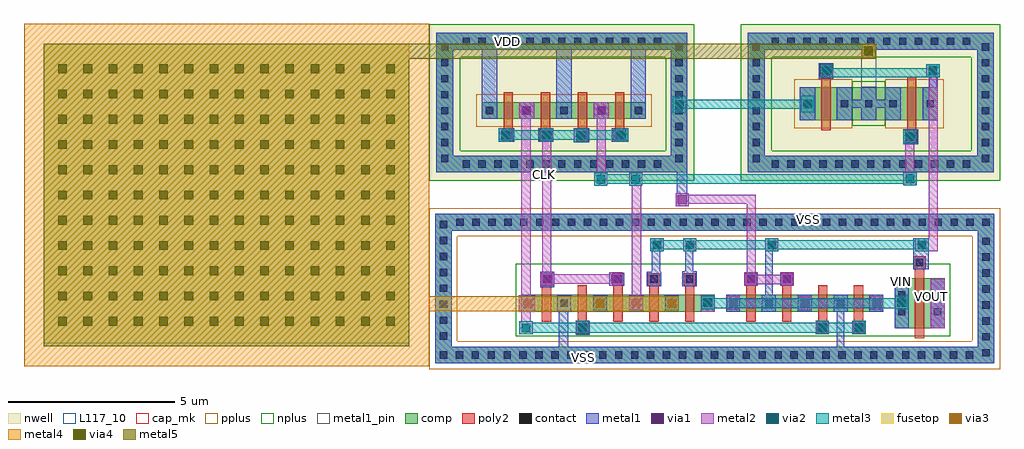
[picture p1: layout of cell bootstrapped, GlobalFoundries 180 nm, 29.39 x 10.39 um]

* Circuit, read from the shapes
.subckt bootstrapped CLK VDD VIN VOUT VSS
XM1 VSS CLK n1 VSS nfet_03v3 w=0.5u l=0.28u
XM2 n2 n1 VSS VSS nfet_03v3 w=0.5u l=0.28u
XM3 n3 CLK n2 VSS nfet_03v3 w=0.5u l=0.28u
XM4 n2 n4 n3 VSS nfet_03v3 w=0.5u l=0.28u
XM5 VIN n4 n2 VSS nfet_03v3 w=0.5u l=0.28u
XM6 n4 VDD n5 VSS nfet_03v3 w=0.5u l=0.28u m=2
XM7 VSS n1 n5 VSS nfet_03v3 w=0.5u l=0.28u m=2
XM8 VOUT n4 VIN VSS nfet_03v3 w=1.5u l=0.28u
XM9 n1 CLK VDD VDD pfet_03v3 w=0.5u l=0.28u m=2
XM10 n3 CLK VDD VDD pfet_03v3 w=0.5u l=0.28u m=2
XM11 n6 n4 VDD n6 pfet_03v3 w=1u l=0.28u
XM12 n4 n3 n6 n6 pfet_03v3 w=1u l=0.28u
XC13 n6 n2 cap_mim_2f0fF c_width=11u c_length=9.1u
.ends

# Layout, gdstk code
from math import pi, radians
import gdstk
lib = gdstk.Library(unit=1e-6, precision=1e-09)
def R(c, l, rs):  # rectangles x0, y0, x1, y1
    for r in rs: c.add(gdstk.rectangle(r[:2], r[2:], *l))
def A(c, l, x, y, w, h, nx, ny, dx, dy):  # array of equal rectangles
    R(c, l, [(x+i*dx, y+j*dy, x+i*dx+w, y+j*dy+h) for i in range(nx) for j in range(ny)])
def P(c, l, *ps):  # polygons
    for p in ps: c.add(gdstk.Polygon(p, *l))
nwell = (21, 0)
comp = (22, 0)
poly2 = (30, 0)
pplus = (31, 0)
nplus = (32, 0)
contact = (33, 0)
metal1 = (34, 0)
metal1_pin = (34, 10)
via1 = (35, 0)
metal2 = (36, 0)
via2 = (38, 0)
via3 = (40, 0)
via4 = (41, 0)
metal3 = (42, 0)
metal4 = (46, 0)
fusetop = (75, 0)
metal5 = (81, 0)
cap_mk = (117, 5)
L117_10 = (117, 10)

via_dev_18_4 = lib.new_cell('via_dev$18$4')
R(via_dev_18_4, metal1, [(0,0,0.4,0.4)])
R(via_dev_18_4, via1, [(0.07,0.07,0.33,0.33)])
R(via_dev_18_4, metal2, [(0,0,0.4,0.4)])
R(via_dev_18_4, via2, [(0.07,0.07,0.33,0.33)])
R(via_dev_18_4, via3, [(0.07,0.07,0.33,0.33)])
R(via_dev_18_4, via4, [(0.07,0.07,0.33,0.33)])
R(via_dev_18_4, metal3, [(0,0,0.4,0.4)])
R(via_dev_18_4, metal4, [(0,0,0.4,0.4)])
R(via_dev_18_4, metal5, [(0,0,0.4,0.4)])

via_dev_1_1_1 = lib.new_cell('via_dev$1$1$1')
R(via_dev_1_1_1, metal1, [(0,0,0.4,0.4)])
R(via_dev_1_1_1, via1, [(0.07,0.07,0.33,0.33)])
R(via_dev_1_1_1, metal2, [(0,0,0.4,0.4)])
R(via_dev_1_1_1, via2, [(0.07,0.07,0.33,0.33)])
R(via_dev_1_1_1, metal3, [(0,0,0.4,0.4)])

via_dev_2_3_1 = lib.new_cell('via_dev$2$3$1')
R(via_dev_2_3_1, metal2, [(0,0,0.4,0.4)])
R(via_dev_2_3_1, via2, [(0.07,0.07,0.33,0.33)])
R(via_dev_2_3_1, metal3, [(0,0,0.4,0.4)])

via_dev_13_2_1 = lib.new_cell('via_dev$13$2$1')
R(via_dev_13_2_1, comp, [(0,0,4.2,0.5)])
A(via_dev_13_2_1, contact, 0.31, 0.14, 0.22, 0.22, 8, 1, 0.48, 0)
R(via_dev_13_2_1, metal1, [(0,0,4.2,0.5)])

via_dev_15_3 = lib.new_cell('via_dev$15$3')
R(via_dev_15_3, comp, [(0,0,6.4,0.5)])
A(via_dev_15_3, contact, 0.21, 0.14, 0.22, 0.22, 13, 1, 0.48, 0)
R(via_dev_15_3, metal1, [(0,0,6.4,0.5)])

via_dev_7_2_1 = lib.new_cell('via_dev$7$2$1')
R(via_dev_7_2_1, comp, [(0,0,4,0.5)])
A(via_dev_7_2_1, contact, 0.21, 0.14, 0.22, 0.22, 8, 1, 0.48, 0)
R(via_dev_7_2_1, metal1, [(0,0,4,0.5)])

via_dev_22_2 = lib.new_cell('via_dev$22$2')
R(via_dev_22_2, comp, [(0,0,16.34,0.5)])
A(via_dev_22_2, contact, 0.14, 0.14, 0.22, 0.22, 34, 1, 0.48, 0)
R(via_dev_22_2, metal1, [(0,0,16.34,0.5)])

via_dev_9_3 = lib.new_cell('via_dev$9$3')
R(via_dev_9_3, metal1, [(0,0,0.4,0.4)])
R(via_dev_9_3, via1, [(0.07,0.07,0.33,0.33)])
R(via_dev_9_3, metal2, [(0,0,0.4,0.4)])
R(via_dev_9_3, via2, [(0.07,0.07,0.33,0.33)])
R(via_dev_9_3, via3, [(0.07,0.07,0.33,0.33)])
R(via_dev_9_3, metal3, [(0,0,0.4,0.4)])
R(via_dev_9_3, metal4, [(0,0,0.4,0.4)])

via_dev_31 = lib.new_cell('via_dev$31')
R(via_dev_31, metal1, [(0,0,0.4,0.4)])
R(via_dev_31, via1, [(0.07,0.07,0.33,0.33)])
R(via_dev_31, metal2, [(0,0,0.4,0.4)])

via_dev_16_3 = lib.new_cell('via_dev$16$3')
R(via_dev_16_3, metal1, [(0,0,0.4,0.5)])
R(via_dev_16_3, via1, [(0.07,0.12,0.33,0.38)])
R(via_dev_16_3, metal2, [(0,0,0.4,0.5)])
R(via_dev_16_3, via2, [(0.07,0.12,0.33,0.38)])
R(via_dev_16_3, metal3, [(0,0,0.4,0.5)])

cap_mim_1_1 = lib.new_cell('cap_mim$1$1')
A(cap_mim_1_1, via4, 0.43, 0.62, 0.26, 0.26, 14, 11, 0.76, 0.76)
R(cap_mim_1_1, metal4, [(-0.6,-0.6,11.6,9.7)])
R(cap_mim_1_1, fusetop, [(0,0,11,9.1)])
R(cap_mim_1_1, metal5, [(0,0,11,9.1)])
R(cap_mim_1_1, cap_mk, [(-0.6,-0.6,11.6,9.7)])
R(cap_mim_1_1, L117_10, [(0,0,11,0.1)])

pfet_6 = lib.new_cell('pfet$6')
R(pfet_6, nwell, [(-1.32,-1.37,2.71,1.99)])
R(pfet_6, comp, [(-0.46,0,1.85,1)])
P(pfet_6, poly2, [(0.14,-0.68),(0.14,-0.3),(0.19,-0.3),(0.19,1.3),(0.47,1.3),(0.47,-0.3),(0.52,-0.3),(0.52,-0.68)])
R(pfet_6, pplus, [(-0.63,-0.24,1.12,1.24)])
R(pfet_6, nplus, [(1.12,-0.17,2.02,1.17)])
R(pfet_6, contact, [(0.22,-0.6,0.44,-0.38), (-0.34,0.39,-0.12,0.61), (0.78,0.39,1,0.61), (1.51,0.39,1.73,0.61)])
R(pfet_6, metal1, [(0.14,-0.68,0.52,-0.3), (-0.42,0.31,-0.04,0.69), (0.7,0.31,1.08,0.69), (1.43,0.31,1.81,0.69)])

pfet_1_1_1 = lib.new_cell('pfet$1$1$1')
R(pfet_1_1_1, nwell, [(-1.32,-0.99,2.71,2.37)])
R(pfet_1_1_1, comp, [(-0.46,0,1.85,1)])
P(pfet_1_1_1, poly2, [(0.19,-0.3),(0.19,1.3),(0.14,1.3),(0.14,1.68),(0.52,1.68),(0.52,1.3),(0.47,1.3),(0.47,-0.3)])
R(pfet_1_1_1, pplus, [(-0.63,-0.24,1.12,1.24)])
R(pfet_1_1_1, nplus, [(1.12,-0.17,2.02,1.17)])
R(pfet_1_1_1, contact, [(-0.34,0.39,-0.12,0.61), (0.78,0.39,1,0.61), (1.51,0.39,1.73,0.61), (0.22,1.38,0.44,1.6)])
R(pfet_1_1_1, metal1, [(-0.42,0.31,-0.04,0.69), (0.7,0.31,1.08,0.69), (1.43,0.31,1.81,0.69), (0.14,1.3,0.52,1.68)])

nfet_7 = lib.new_cell('nfet$7')
R(nfet_7, comp, [(-0.42,0,1.08,0.5)])
P(nfet_7, poly2, [(0.19,-0.3),(0.19,0.8),(0.15,0.8),(0.15,1.16),(0.51,1.16),(0.51,0.8),(0.47,0.8),(0.47,-0.3)])
R(nfet_7, nplus, [(-0.59,-0.24,1.25,0.74)])
R(nfet_7, contact, [(-0.32,0.14,-0.1,0.36), (0.76,0.14,0.98,0.36), (0.22,0.87,0.44,1.09)])
R(nfet_7, metal1, [(-0.4,0.06,-0.02,0.44), (0.68,0.06,1.06,0.44), (0.14,0.79,0.52,1.17)])

nfet_4_2 = lib.new_cell('nfet$4$2')
R(nfet_4_2, comp, [(-0.42,0,1.08,0.5)])
P(nfet_4_2, poly2, [(0.15,-0.66),(0.15,-0.3),(0.19,-0.3),(0.19,0.8),(0.47,0.8),(0.47,-0.3),(0.51,-0.3),(0.51,-0.66)])
R(nfet_4_2, nplus, [(-0.59,-0.24,1.25,0.74)])
R(nfet_4_2, contact, [(0.22,-0.59,0.44,-0.37), (-0.32,0.14,-0.1,0.36), (0.76,0.14,0.98,0.36)])
R(nfet_4_2, metal1, [(0.14,-0.67,0.52,-0.29), (-0.4,0.06,-0.02,0.44), (0.68,0.06,1.06,0.44)])

nfet_5_2 = lib.new_cell('nfet$5$2')
R(nfet_5_2, comp, [(-0.42,0,1.08,1.5)])
P(nfet_5_2, poly2, [(0.19,-0.3),(0.19,1.8),(0.15,1.8),(0.15,2.16),(0.51,2.16),(0.51,1.8),(0.47,1.8),(0.47,-0.3)])
R(nfet_5_2, nplus, [(-0.59,-0.24,1.25,1.74)])
R(nfet_5_2, contact, [(-0.32,0.385,-0.1,0.605), (0.76,0.385,0.98,0.605), (-0.32,0.895,-0.1,1.115), (0.76,0.895,0.98,1.115), (0.22,1.87,0.44,2.09)])
R(nfet_5_2, metal1, [(-0.4,0.305,-0.02,1.195), (0.68,0.305,1.06,1.195), (0.14,1.79,0.52,2.17)])

pfet_3_1 = lib.new_cell('pfet$3$1')
R(pfet_3_1, nwell, [(-1.07,-1.12,1.73,1.24)])
R(pfet_3_1, comp, [(-0.46,0,1.12,0.5)])
P(pfet_3_1, poly2, [(0.14,-0.68),(0.14,-0.3),(0.19,-0.3),(0.19,0.8),(0.47,0.8),(0.47,-0.3),(0.52,-0.3),(0.52,-0.68)])
R(pfet_3_1, pplus, [(-0.63,-0.24,1.29,0.74)])
R(pfet_3_1, contact, [(0.22,-0.6,0.44,-0.38), (-0.34,0.14,-0.12,0.36), (0.78,0.14,1,0.36)])
R(pfet_3_1, metal1, [(0.14,-0.68,0.52,-0.3), (-0.42,0.06,-0.04,0.44), (0.7,0.06,1.08,0.44)])

via_dev_20_2 = lib.new_cell('via_dev$20$2')
R(via_dev_20_2, comp, [(0,0,6.55,0.5)])
A(via_dev_20_2, contact, 0.285, 0.14, 0.22, 0.22, 13, 1, 0.48, 0)
R(via_dev_20_2, metal1, [(0,0,6.55,0.5)])

bootstrapped = lib.new_cell('bootstrapped')
R(bootstrapped, nwell, [(10.67,5.585,18.65,10.295), (20.05,5.585,27.85,10.295)])
R(bootstrapped, pplus, [(10.67,-0.09,11.51,3.91), (11.51,-0.09,27.01,0.75), (27.01,-0.09,27.85,3.91), (10.67,3.91,27.85,4.75)])
R(bootstrapped, nplus, [(13.27,0.895,26.35,3.085), (10.67,5.585,11.6,9.305), (11.6,5.585,17.78,6.485), (17.78,5.585,18.65,9.305), (20.05,5.585,20.98,9.305), (20.98,5.585,26.98,6.485), (26.98,5.585,27.85,9.305), (10.67,9.305,18.65,10.295), (20.05,9.305,27.85,10.295)])
A(bootstrapped, metal1, 14.52, 1.635, 0.42, 0.5, 3, 1, 1.08, 0)
A(bootstrapped, metal1, 16.68, 1.635, 0.42, 0.5, 3, 1, 1.08, 0)
A(bootstrapped, metal1, 19.6, 1.64, 0.42, 0.5, 3, 1, 1.08, 0)
A(bootstrapped, metal1, 21.76, 1.64, 0.42, 0.5, 3, 1, 1.08, 0)
A(bootstrapped, metal1, 22.94, 7.395, 0.46, 1, 3, 1, 0.73, 0)
A(bootstrapped, metal1, 12.25, 7.445, 0.46, 2.085, 3, 1, 2.24, 0)
R(bootstrapped, metal1, [(14.57,0.575,14.85,1.635), (22.93,0.58,23.16,1.64), (15.08,0.935,15.5,1.355), (22.31,0.96,22.7,1.36), (23.4,0.96,23.79,1.36), (24.68,1.135,25.1,2.635), (25.76,1.135,26.18,2.635), (13.36,1.635,13.86,2.135), (20.78,2.14,21.01,3.45), (14,2.375,14.43,2.835), (17.21,2.405,17.65,2.845), (18.28,2.405,18.72,2.85), (16.1,2.415,16.54,2.815), (20.15,2.42,20.55,2.82), (21.24,2.42,21.64,2.82), (21.24,2.42,21.64,2.82), (17.37,2.845,17.62,3.45), (18.37,2.845,18.62,3.45), (25.24,2.915,25.7,3.85), (18.11,5.21,18.43,5.83), (24.94,6.685,25.39,7.125), (15.02,6.745,15.48,7.155), (12.76,6.755,13.23,7.155), (13.95,6.755,14.4,7.155), (16.16,6.755,16.66,7.155), (21.82,7.395,22.28,8.395), (22.94,7.395,23.4,8.395), (25.52,7.395,25.98,8.395), (13.37,7.445,13.83,7.945), (15.61,7.445,16.07,7.945), (23.36,7.775,24.82,8.015), (25.72,8.395,25.95,8.69), (22.395,8.655,22.835,9.115)])
R(bootstrapped, metal1_pin, [(23.67,8.395,24.13,9.525)])
R(bootstrapped, metal2, [(25.76,1.135,26.18,2.635), (13.44,1.345,13.72,7.705), (13.36,1.635,13.86,2.135), (18.84,1.635,19.26,2.135), (20.02,1.75,21.78,2.03), (22.18,1.75,23.94,2.03), (16.76,2.025,17.04,5.425), (20.55,2.47,21.24,2.75), (14.31,2.48,16.2,2.765), (20.22,2.75,20.5,4.88), (14.06,2.815,14.34,7.025), (25.7,3.45,25.98,8.69), (18.48,4.88,20.5,5.16), (15.7,5.48,15.98,7.445), (24.99,5.84,25.27,6.71), (13.37,7.445,13.83,7.945), (15.61,7.445,16.07,7.945)])
R(bootstrapped, metal3, [(13.78,0.995,23.4,1.305), (18.91,1.735,24.7,2.045), (17.32,3.515,25.3,3.795), (16.03,5.49,24.94,5.77), (13.16,6.815,16.26,7.095), (18.4,7.745,21.86,8.025), (22.835,8.69,25.63,8.97)])
R(bootstrapped, metal4, [(10.66,1.655,18.17,2.095)])
R(bootstrapped, metal5, [(10.06,9.255,24.13,9.7)])
bootstrapped.add(gdstk.Reference(via_dev_18_4, (23.69,9.29)))
bootstrapped.add(gdstk.Reference(via_dev_1_1_1, (25.3,3.45)))
bootstrapped.add(gdstk.Reference(via_dev_2_3_1, (16.03,5.425), rotation=pi, x_reflection=True))
bootstrapped.add(gdstk.Reference(via_dev_2_3_1, (24.94,5.44)))
bootstrapped.add(gdstk.Reference(via_dev_2_3_1, (17.08,5.425), rotation=pi, x_reflection=True))
bootstrapped.add(gdstk.Reference(via_dev_13_2_1, (27.16,10.03), rotation=3*pi/2))
bootstrapped.add(gdstk.Reference(via_dev_15_3, (20.76,9.53)))
bootstrapped.add(gdstk.Reference(via_dev_13_2_1, (20.26,10.03), rotation=3*pi/2))
bootstrapped.add(gdstk.Reference(via_dev_7_2_1, (11.34,0.58), rotation=pi/2))
bootstrapped.add(gdstk.Reference(via_dev_1_1_1, (24.94,6.71)))
bootstrapped.add(gdstk.Reference(via_dev_1_1_1, (25.63,8.69)))
bootstrapped.add(gdstk.Reference(via_dev_1_1_1, (22.435,8.69)))
bootstrapped.add(gdstk.Reference(via_dev_15_3, (20.76,5.83)))
bootstrapped.add(gdstk.Reference(via_dev_22_2, (10.84,0.08)))
bootstrapped.add(gdstk.Reference(via_dev_9_3, (16.01,1.69), rotation=pi, x_reflection=True))
bootstrapped.add(gdstk.Reference(via_dev_31, (13.84,1.68), rotation=pi, x_reflection=True))
bootstrapped.add(gdstk.Reference(via_dev_31, (17.09,1.7), rotation=pi, x_reflection=True))
bootstrapped.add(gdstk.Reference(via_dev_2_3_1, (13.78,0.95), rotation=pi, x_reflection=True))
bootstrapped.add(gdstk.Reference(via_dev_1_1_1, (18.31,3.45)))
bootstrapped.add(gdstk.Reference(via_dev_1_1_1, (17.32,3.45)))
bootstrapped.add(gdstk.Reference(via_dev_1_1_1, (18.85,1.71)))
bootstrapped.add(gdstk.Reference(via_dev_9_3, (17.77,1.69)))
bootstrapped.add(gdstk.Reference(via_dev_31, (14.41,2.42), rotation=pi, x_reflection=True))
bootstrapped.add(gdstk.Reference(via_dev_31, (16.48,2.42), rotation=pi, x_reflection=True))
bootstrapped.add(gdstk.Reference(via_dev_1_1_1, (20.78,3.45)))
bootstrapped.add(gdstk.Reference(via_dev_1_1_1, (15.48,0.96), rotation=pi, x_reflection=True))
bootstrapped.add(gdstk.Reference(via_dev_31, (18.08,4.81)))
bootstrapped.add(gdstk.Reference(via_dev_16_3, (18,7.62)))
bootstrapped.add(gdstk.Reference(via_dev_16_3, (21.86,7.64)))
bootstrapped.add(gdstk.Reference(cap_mim_1_1, (-0.94,0.6)))
bootstrapped.add(gdstk.Reference(pfet_6, (25.52,7.4), rotation=pi, x_reflection=True))
bootstrapped.add(gdstk.Reference(pfet_1_1_1, (22.28,7.4)))
bootstrapped.add(gdstk.Reference(nfet_7, (18.18,1.64)))
bootstrapped.add(gdstk.Reference(nfet_7, (17.76,1.64), rotation=pi, x_reflection=True))
bootstrapped.add(gdstk.Reference(nfet_7, (16.02,1.64)))
bootstrapped.add(gdstk.Reference(nfet_4_2, (15.6,1.64), rotation=pi, x_reflection=True))
bootstrapped.add(gdstk.Reference(nfet_7, (14.52,1.64), rotation=pi, x_reflection=True))
bootstrapped.add(gdstk.Reference(nfet_5_2, (25.1,1.14)))
bootstrapped.add(gdstk.Reference(via_dev_7_2_1, (27.68,0.08), rotation=pi/2))
bootstrapped.add(gdstk.Reference(via_dev_22_2, (27.68,4.58), rotation=pi))
bootstrapped.add(gdstk.Reference(via_dev_1_1_1, (24.69,1.71)))
bootstrapped.add(gdstk.Reference(nfet_4_2, (20.02,2.14), x_reflection=True))
bootstrapped.add(gdstk.Reference(nfet_4_2, (21.1,2.14), x_reflection=True))
bootstrapped.add(gdstk.Reference(via_dev_31, (19.62,2.1), x_reflection=True))
bootstrapped.add(gdstk.Reference(via_dev_31, (20.15,2.42)))
bootstrapped.add(gdstk.Reference(via_dev_31, (21.24,2.42)))
bootstrapped.add(gdstk.Reference(via_dev_31, (21.78,1.68)))
bootstrapped.add(gdstk.Reference(nfet_7, (23.26,2.14), x_reflection=True))
bootstrapped.add(gdstk.Reference(via_dev_31, (23.94,2.1), x_reflection=True))
bootstrapped.add(gdstk.Reference(nfet_7, (22.18,2.14), x_reflection=True))
bootstrapped.add(gdstk.Reference(via_dev_1_1_1, (22.3,0.96)))
bootstrapped.add(gdstk.Reference(via_dev_1_1_1, (23.4,0.96)))
bootstrapped.add(gdstk.Reference(pfet_3_1, (15.61,7.445), rotation=pi, x_reflection=True))
bootstrapped.add(gdstk.Reference(via_dev_1_1_1, (15.02,6.745)))
bootstrapped.add(gdstk.Reference(via_dev_31, (13.385,7.5)))
bootstrapped.add(gdstk.Reference(via_dev_31, (15.65,7.5)))
bootstrapped.add(gdstk.Reference(via_dev_1_1_1, (16.26,6.755)))
bootstrapped.add(gdstk.Reference(via_dev_13_2_1, (17.93,10.03), rotation=3*pi/2))
bootstrapped.add(gdstk.Reference(via_dev_1_1_1, (12.76,6.755)))
bootstrapped.add(gdstk.Reference(via_dev_1_1_1, (14,6.755)))
bootstrapped.add(gdstk.Reference(pfet_3_1, (16.73,7.445), rotation=pi, x_reflection=True))
bootstrapped.add(gdstk.Reference(pfet_3_1, (13.37,7.445), rotation=pi, x_reflection=True))
bootstrapped.add(gdstk.Reference(via_dev_20_2, (11.38,5.83)))
bootstrapped.add(gdstk.Reference(pfet_3_1, (14.49,7.445), rotation=pi, x_reflection=True))
bootstrapped.add(gdstk.Reference(via_dev_13_2_1, (10.88,10.03), rotation=3*pi/2))
bootstrapped.add(gdstk.Reference(via_dev_20_2, (11.38,9.53)))
bootstrapped.add(gdstk.Label('VOUT', (25.78,2.095), layer=34, texttype=10))
bootstrapped.add(gdstk.Label('VIN', (24.89,2.54), layer=34, texttype=10))
bootstrapped.add(gdstk.Label('VSS', (22.09,4.41), layer=34, texttype=10))
bootstrapped.add(gdstk.Label('VSS', (15.31,0.255), layer=34, texttype=10))
bootstrapped.add(gdstk.Label('VDD', (13.005,9.78), layer=34, texttype=10))
bootstrapped.add(gdstk.Label('CLK', (14.12,5.755), layer=36, texttype=10))

lib.write_gds('bootstrapped.gds')
